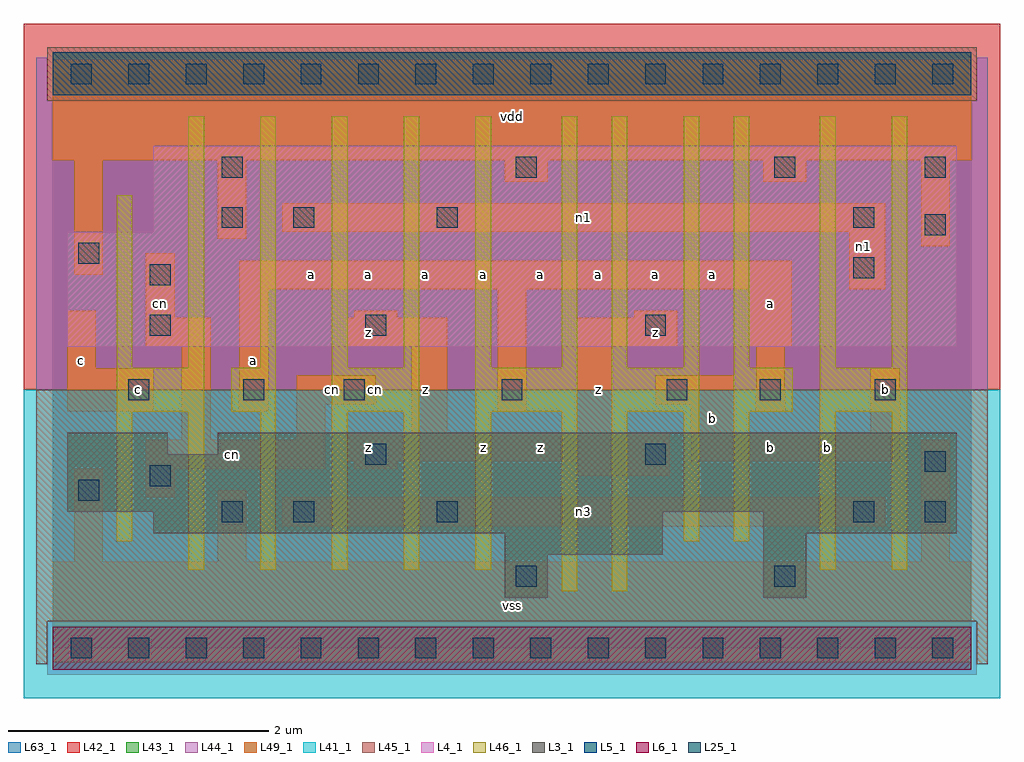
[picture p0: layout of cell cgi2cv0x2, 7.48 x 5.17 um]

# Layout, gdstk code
import gdstk
lib = gdstk.Library(unit=1e-6, precision=1e-09)
def R(c, l, rs):  # rectangles x0, y0, x1, y1
    for r in rs: c.add(gdstk.rectangle(r[:2], r[2:], *l))
def A(c, l, x, y, w, h, nx, ny, dx, dy):  # array of equal rectangles
    R(c, l, [(x+i*dx, y+j*dy, x+i*dx+w, y+j*dy+h) for i in range(nx) for j in range(ny)])
L3_1 = (3, 1)
L4_1 = (4, 1)
L5_1 = (5, 1)
L6_1 = (6, 1)
L25_1 = (25, 1)
L41_1 = (41, 1)
L42_1 = (42, 1)
L43_1 = (43, 1)
L44_1 = (44, 1)
L45_1 = (45, 1)
L46_1 = (46, 1)
L49_1 = (49, 1)
L63_1 = (63, 1)

cgi2cv0x2 = lib.new_cell('cgi2cv0x2')
R(cgi2cv0x2, L3_1, [(3.465,0.385,3.795,0.715), (5.445,0.385,5.775,0.88), (3.465,0.715,4.675,0.88), (0.77,0.88,4.675,1.045), (5.445,0.88,6.93,1.045), (0.11,1.045,6.93,1.485), (0.11,1.485,0.88,1.65), (1.265,1.485,6.93,1.65)])
R(cgi2cv0x2, L4_1, [(0.11,2.31,6.93,3.19), (0.77,3.19,6.93,3.85)])
R(cgi2cv0x2, L5_1, [(0,4.235,7.04,4.565)])
R(cgi2cv0x2, L6_1, [(0,-0.165,7.04,0.165)])
A(cgi2cv0x2, L25_1, 0.14, -0.08, 0.16, 0.16, 16, 2, 0.44, 4.4)
R(cgi2cv0x2, L25_1, [(3.55,0.47,3.71,0.63), (5.53,0.47,5.69,0.63), (1.295,0.965,1.455,1.125), (1.845,0.965,2.005,1.125), (2.945,0.965,3.105,1.125), (6.135,0.965,6.295,1.125), (6.685,0.965,6.845,1.125), (0.195,1.13,0.355,1.29), (0.745,1.24,0.905,1.4), (6.685,1.35,6.845,1.51), (2.395,1.405,2.555,1.565), (4.54,1.405,4.7,1.565), (0.58,1.9,0.74,2.06), (1.46,1.9,1.62,2.06), (2.23,1.9,2.39,2.06), (3.44,1.9,3.6,2.06), (4.705,1.9,4.865,2.06), (5.42,1.9,5.58,2.06), (6.3,1.9,6.46,2.06), (0.745,2.395,0.905,2.555), (2.395,2.395,2.555,2.555), (4.54,2.395,4.7,2.555), (0.745,2.78,0.905,2.94), (6.135,2.835,6.295,2.995), (0.195,2.945,0.355,3.105), (6.685,3.165,6.845,3.325), (1.295,3.22,1.455,3.38), (1.845,3.22,2.005,3.38), (2.945,3.22,3.105,3.38), (6.135,3.22,6.295,3.38), (1.295,3.605,1.455,3.765), (3.55,3.605,3.71,3.765), (5.53,3.605,5.69,3.765), (6.685,3.605,6.845,3.765)])
R(cgi2cv0x2, L41_1, [(-0.22,-0.385,7.26,1.98)])
R(cgi2cv0x2, L42_1, [(-0.22,1.98,7.26,4.785)])
R(cgi2cv0x2, L43_1, [(0,-0.165,7.04,0.165), (3.465,0.385,3.795,0.715), (5.445,0.385,5.775,0.88), (3.465,0.715,4.675,0.88), (0.77,0.88,4.675,1.045), (5.445,0.88,6.93,1.045), (0.11,1.045,6.93,1.485), (0.11,1.485,0.88,1.65), (1.265,1.485,6.93,1.65), (0.11,2.31,6.93,3.19), (0.77,3.19,6.93,3.85), (0,4.235,7.04,4.565)])
R(cgi2cv0x2, L44_1, [(-0.04,-0.205,7.08,0.205), (-0.125,1.98,7.165,4.195), (-0.125,4.195,-0.04,4.525), (7.08,4.195,7.165,4.525)])
R(cgi2cv0x2, L45_1, [(-0.125,-0.125,-0.04,0.205), (7.08,-0.125,7.165,0.205), (-0.125,0.205,7.165,1.98), (-0.04,4.195,7.08,4.605)])
A(cgi2cv0x2, L46_1, 1.04, 0.6, 0.12, 1.21, 5, 1, 0.55, 0)
A(cgi2cv0x2, L46_1, 1.04, 2.15, 0.12, 1.925, 5, 1, 0.55, 0)
R(cgi2cv0x2, L46_1, [(3.9,0.435,4.02,1.81), (4.285,0.435,4.405,1.81), (5.88,0.6,6,1.81), (6.43,0.6,6.55,1.81), (0.49,0.82,0.61,1.81), (4.835,0.82,4.955,1.81), (5.22,0.82,5.34,1.81), (0.49,1.81,1.16,2.15), (1.37,1.81,1.71,2.15), (2.14,1.81,2.81,2.15), (3.24,1.81,4.02,2.15), (4.285,1.81,4.955,2.15), (5.22,1.81,5.67,2.15), (5.88,1.81,6.55,2.15), (0.49,2.15,0.61,3.47), (3.9,2.15,4.02,4.075), (4.285,2.15,4.405,4.075), (4.835,2.15,4.955,4.075), (5.22,2.15,5.34,4.075), (5.88,2.15,6,4.075), (6.43,2.15,6.55,4.075)])
R(cgi2cv0x2, L49_1, [(0,-0.11,7.04,0.66), (0.165,0.66,0.385,1.375), (1.265,0.66,1.485,1.21), (6.655,0.66,6.875,1.595), (1.76,0.935,6.38,1.155), (0.715,1.155,0.935,1.375), (4.015,1.32,4.73,1.43), (0.715,1.375,2.09,1.595), (2.31,1.375,2.64,1.43), (2.255,1.43,4.73,1.65), (4.895,1.43,6.49,1.65), (0.99,1.595,1.21,2.31), (1.87,1.595,2.09,1.87), (2.75,1.65,3.025,2.31), (4.015,1.65,4.29,2.31), (4.895,1.65,5.225,1.87), (6.27,1.65,6.49,2.145), (0.11,1.815,0.77,2.145), (1.43,1.815,1.65,2.75), (3.41,1.815,3.63,2.75), (5.39,1.815,5.61,2.31), (1.87,1.87,2.475,2.09), (4.62,1.87,5.225,2.09), (0.11,2.145,0.33,2.585), (0.715,2.31,1.21,2.53), (2.255,2.31,3.025,2.53), (4.015,2.31,4.785,2.53), (5.335,2.31,5.665,2.75), (0.715,2.53,0.935,3.025), (2.31,2.53,2.64,2.585), (4.455,2.53,4.785,2.585), (1.43,2.75,5.665,2.97), (6.105,2.75,6.38,3.19), (0.165,2.86,0.385,3.74), (6.655,3.08,6.875,3.74), (1.265,3.135,1.485,3.74), (1.76,3.19,6.38,3.41), (3.465,3.575,3.795,3.74), (5.445,3.575,5.775,3.74), (0,3.74,7.04,4.51)])
R(cgi2cv0x2, L63_1, [(0,0,7.04,4.4)])
cgi2cv0x2.add(gdstk.Label('cn', (2.475,1.98), layer=46, texttype=1))
cgi2cv0x2.add(gdstk.Label('c', (0.22,2.2), layer=49, texttype=1))
cgi2cv0x2.add(gdstk.Label('c', (0.66,1.98), layer=49, texttype=1))
cgi2cv0x2.add(gdstk.Label('cn', (0.825,2.64), layer=49, texttype=1))
cgi2cv0x2.add(gdstk.Label('cn', (1.375,1.485), layer=49, texttype=1))
cgi2cv0x2.add(gdstk.Label('z', (2.42,1.54), layer=49, texttype=1))
cgi2cv0x2.add(gdstk.Label('cn', (2.145,1.98), layer=49, texttype=1))
cgi2cv0x2.add(gdstk.Label('a', (1.54,2.2), layer=49, texttype=1))
cgi2cv0x2.add(gdstk.Label('z', (2.42,2.42), layer=49, texttype=1))
cgi2cv0x2.add(gdstk.Label('a', (1.98,2.86), layer=49, texttype=1))
cgi2cv0x2.add(gdstk.Label('a', (2.42,2.86), layer=49, texttype=1))
cgi2cv0x2.add(gdstk.Label('vss', (3.52,0.33), layer=49, texttype=1))
cgi2cv0x2.add(gdstk.Label('z', (3.3,1.54), layer=49, texttype=1))
cgi2cv0x2.add(gdstk.Label('z', (3.74,1.54), layer=49, texttype=1))
cgi2cv0x2.add(gdstk.Label('z', (2.86,1.98), layer=49, texttype=1))
cgi2cv0x2.add(gdstk.Label('a', (3.3,2.86), layer=49, texttype=1))
cgi2cv0x2.add(gdstk.Label('a', (3.74,2.86), layer=49, texttype=1))
cgi2cv0x2.add(gdstk.Label('a', (2.86,2.86), layer=49, texttype=1))
cgi2cv0x2.add(gdstk.Label('vdd', (3.52,4.07), layer=49, texttype=1))
cgi2cv0x2.add(gdstk.Label('b', (5.5,1.54), layer=49, texttype=1))
cgi2cv0x2.add(gdstk.Label('b', (5.06,1.76), layer=49, texttype=1))
cgi2cv0x2.add(gdstk.Label('z', (4.18,1.98), layer=49, texttype=1))
cgi2cv0x2.add(gdstk.Label('z', (4.62,2.42), layer=49, texttype=1))
cgi2cv0x2.add(gdstk.Label('a', (5.5,2.64), layer=49, texttype=1))
cgi2cv0x2.add(gdstk.Label('a', (4.62,2.86), layer=49, texttype=1))
cgi2cv0x2.add(gdstk.Label('a', (5.06,2.86), layer=49, texttype=1))
cgi2cv0x2.add(gdstk.Label('a', (4.18,2.86), layer=49, texttype=1))
cgi2cv0x2.add(gdstk.Label('n3', (4.07,1.045), layer=49, texttype=1))
cgi2cv0x2.add(gdstk.Label('b', (5.94,1.54), layer=49, texttype=1))
cgi2cv0x2.add(gdstk.Label('b', (6.38,1.98), layer=49, texttype=1))
cgi2cv0x2.add(gdstk.Label('n1', (6.215,3.08), layer=49, texttype=1))
cgi2cv0x2.add(gdstk.Label('n1', (4.07,3.3), layer=49, texttype=1))

lib.write_gds('cgi2cv0x2.gds')
